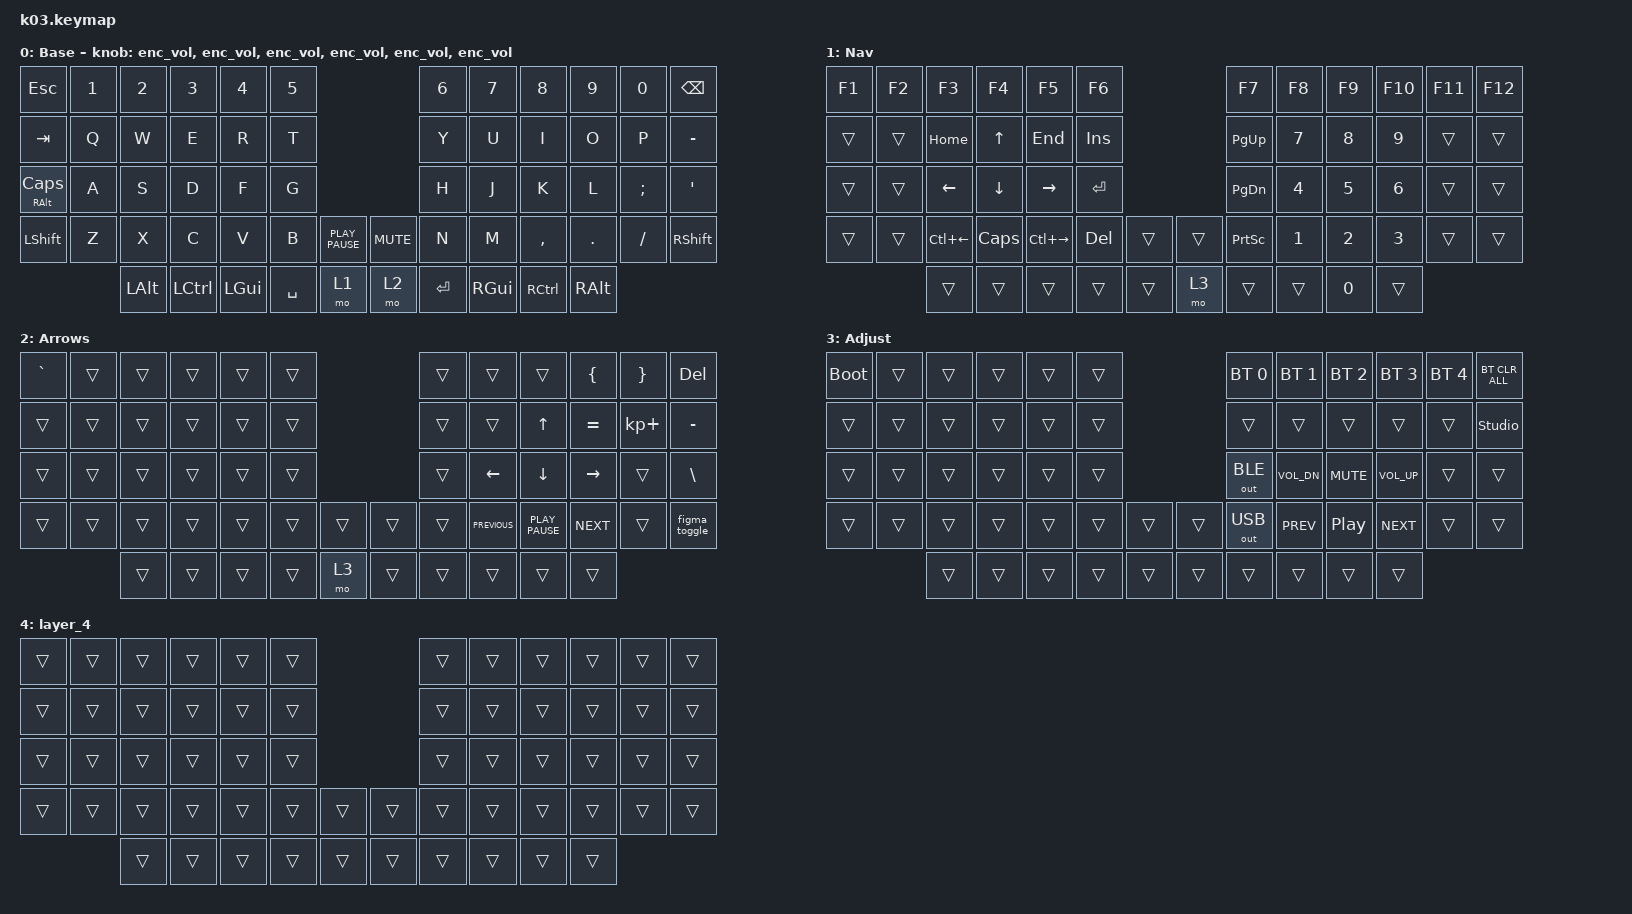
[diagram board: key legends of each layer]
#include "keys_ru.h"
#include <behaviors.dtsi>
#include <dt-bindings/zmk/bt.h>
#include <dt-bindings/zmk/keys.h>
#include <dt-bindings/zmk/outputs.h>

/ {
    behaviors {
        enc_vol: enc_vol {
            compatible = "zmk,behavior-sensor-rotate";
            label = "ENC_VOL";
            #sensor-binding-cells = <0>;
            bindings = <&kp C_VOL_UP>, <&kp C_VOL_DN>;
        };
    };

    macros {
        figma_toggle: figma_toggle {
            compatible = "zmk,behavior-macro";
            #binding-cells = <0>;
            bindings = <&kp LEFT_SHIFT &kp LEFT_GUI &kp BACKSLASH>;
            label = "FIGMA_TOGGLE";
        };
    };

    keymap {
        compatible = "zmk,keymap";

        base {
            bindings = <
&kp ESCAPE          &kp N1  &kp N2        &kp N3            &kp N4    &kp N5                                     &kp N6      &kp N7         &kp N8     &kp N9         &kp N0    &kp BSPC
&kp TAB             &kp Q   &kp W         &kp E             &kp R     &kp T                                      &kp Y       &kp U          &kp I      &kp O          &kp P     &kp MINUS
&mt RIGHT_ALT CAPS  &kp A   &kp S         &kp D             &kp F     &kp G                                      &kp H       &kp J          &kp K      &kp L          &kp SEMI  &kp SQT
&kp LSHFT           &kp Z   &kp X         &kp C             &kp V     &kp B      &kp K_PLAY_PAUSE    &kp K_MUTE  &kp N       &kp M          &kp COMMA  &kp DOT        &kp FSLH  &kp RSHFT
                            &kp LEFT_ALT  &kp LEFT_CONTROL  &kp LGUI  &kp SPACE  &mo 1               &mo 2       &kp RETURN  &kp RIGHT_GUI  &kp RCTRL  &kp RIGHT_ALT
            >;

            display-name = "Base";
            sensor-bindings =
                <&enc_vol>,
                <&enc_vol>,
                <&enc_vol>,
                <&enc_vol>,
                <&enc_vol>,
                <&enc_vol>;
        };

        nav {
            bindings = <
&kp F1  &kp F2  &kp F3        &kp F4    &kp F5         &kp F6                     &kp F7           &kp F8  &kp F9  &kp F10  &kp F11  &kp F12
&trans  &trans  &kp HOME      &kp UP    &kp END        &kp INS                    &kp PG_UP        &kp N7  &kp N8  &kp N9   &trans   &trans
&trans  &trans  &kp LEFT      &kp DOWN  &kp RIGHT      &kp RET                    &kp PG_DN        &kp N4  &kp N5  &kp N6   &trans   &trans
&trans  &trans  &kp LC(LEFT)  &kp CAPS  &kp LC(RIGHT)  &kp DEL  &trans    &trans  &kp PRINTSCREEN  &kp N1  &kp N2  &kp N3   &trans   &trans
                &trans        &trans    &trans         &trans   &trans    &mo 3   &trans           &trans  &kp N0  &trans
            >;

            display-name = "Nav";
        };

        Arrows {
            bindings = <
&kp GRAVE  &trans  &trans  &trans  &trans  &trans                    &trans  &trans          &trans            &kp LEFT_BRACE  &kp RIGHT_BRACE  &kp DELETE
&trans     &trans  &trans  &trans  &trans  &trans                    &trans  &trans          &kp UP            &kp EQUAL       &kp KP_PLUS      &kp MINUS
&trans     &trans  &trans  &trans  &trans  &trans                    &trans  &kp LEFT_ARROW  &kp DOWN_ARROW    &kp RIGHT       &trans           &kp BACKSLASH
&trans     &trans  &trans  &trans  &trans  &trans  &trans    &trans  &trans  &kp K_PREVIOUS  &kp K_PLAY_PAUSE  &kp K_NEXT      &trans           &figma_toggle
                   &trans  &trans  &trans  &trans  &mo 3     &trans  &trans  &trans          &trans            &trans
            >;
        };

        adj {
            bindings = <
&bootloader  &trans  &trans  &trans  &trans  &trans                    &bt BT_SEL 0  &bt BT_SEL 1  &bt BT_SEL 2      &bt BT_SEL 3  &bt BT_SEL 4  &bt BT_CLR_ALL
&trans       &trans  &trans  &trans  &trans  &trans                    &trans        &trans        &trans            &trans        &trans        &studio_unlock
&trans       &trans  &trans  &trans  &trans  &trans                    &out OUT_BLE  &kp C_VOL_DN  &kp C_MUTE        &kp C_VOL_UP  &trans        &trans
&trans       &trans  &trans  &trans  &trans  &trans  &trans    &trans  &out OUT_USB  &kp C_PREV    &kp C_PLAY_PAUSE  &kp C_NEXT    &trans        &trans
                     &trans  &trans  &trans  &trans  &trans    &trans  &trans        &trans        &trans            &trans
            >;

            display-name = "Adjust";
        };

        layer_4 {
            bindings = <
&trans  &trans  &trans  &trans  &trans  &trans                    &trans  &trans  &trans  &trans  &trans  &trans
&trans  &trans  &trans  &trans  &trans  &trans                    &trans  &trans  &trans  &trans  &trans  &trans
&trans  &trans  &trans  &trans  &trans  &trans                    &trans  &trans  &trans  &trans  &trans  &trans
&trans  &trans  &trans  &trans  &trans  &trans  &trans    &trans  &trans  &trans  &trans  &trans  &trans  &trans
                &trans  &trans  &trans  &trans  &trans    &trans  &trans  &trans  &trans  &trans
            >;
        };
    };
};
